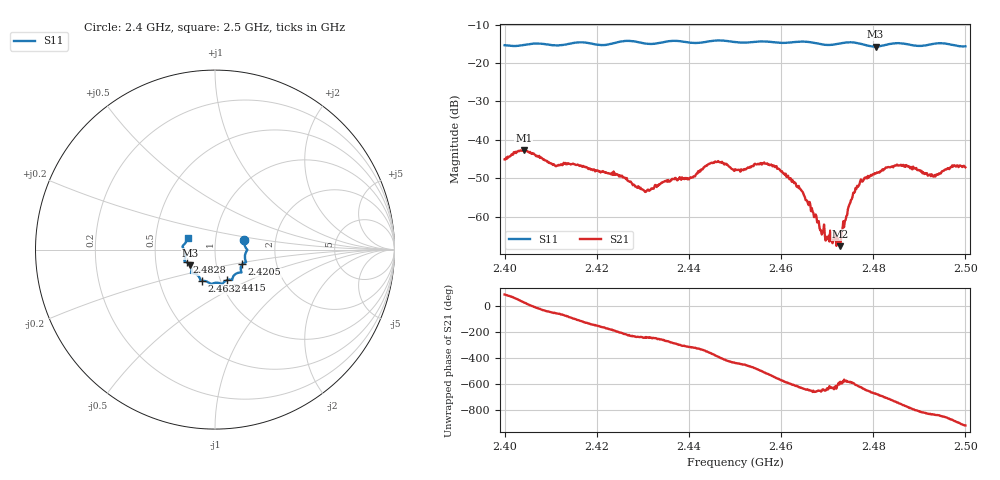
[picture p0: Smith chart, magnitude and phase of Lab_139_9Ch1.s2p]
# Hz S RI R 50
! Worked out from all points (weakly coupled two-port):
!   601 points, 2.4 GHz to 2.5 GHz, reference 50 ohm
!   highest |S21| = -42.67 dB at 2.4042 GHz (marker M1); lowest = -67.7 dB at 2.4728 GHz (marker M2)
!   lowest |S11| = -15.7 dB at 2.4805 GHz (marker M3), VSWR 1.39, Z = 37.3 - j6.68 ohm
!   |S11| at or under -10 dB: start of sweep to end of sweep
!   S12 and S22 are empty: the file has one direction only
!   S11 on the Smith chart (normalised r, x): 2.4 GHz: 1.38, +0.15; 2.4205 GHz: 1.34, -0.22; 2.4415 GHz: 1.07, -0.38; 2.4632 GHz: 0.82, -0.29; 2.4828 GHz: 0.72, -0.10; 2.5 GHz: 0.73, +0.10
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2.4e9  0.1633 0.0518  0.000243 0.00555  0 0  0 0
2.404167e9  0.1721 0.00907  0.00654 0.00336  0 0  0 0
2.411e9  0.1681 -0.0255  0.00264 -0.00373  0 0  0 0
2.416667e9  0.1729 -0.0699  -0.00208 -0.00406  0 0  0 0
2.4205e9  0.152 -0.0816  -0.0035 -0.00161  0 0  0 0
2.430333e9  0.125 -0.1306  -0.000969 0.00193  0 0  0 0
2.433333e9  0.1003 -0.1516  -0.000723 0.00241  0 0  0 0
2.4415e9  0.0656 -0.1706  0.00283 0.00208  0 0  0 0
2.445833e9  0.0415 -0.1923  0.00477 -0.00195  0 0  0 0
2.45e9  0.0242 -0.1862  0.000799 -0.00406  0 0  0 0
2.4565e9  -0.0237 -0.19  -0.00436 -0.00222  0 0  0 0
2.463167e9  -0.0731 -0.1739  -0.000657 0.00262  0 0  0 0
2.466667e9  -0.0822 -0.1669  0.000503 0.00119  0 0  0 0
2.47e9  -0.099 -0.1411  2.83e-05 0.000507  0 0  0 0
2.472833e9  -0.1253 -0.1302  -0.000296 0.000286  0 0  0 0
2.476e9  -0.1335 -0.1279  -0.000911 0.00188  0 0  0 0
2.4805e9  -0.1389 -0.0872  0.00251 0.00265  0 0  0 0
2.482833e9  -0.1586 -0.07  0.00428 0.000899  0 0  0 0
2.483333e9  -0.1624 -0.0682  0.00441 0.000353  0 0  0 0
2.487333e9  -0.1683 -0.0529  0.0026 -0.00379  0 0  0 0
2.493e9  -0.1778 0.00952  -0.0014 -0.00301  0 0  0 0
2.5e9  -0.1527 0.0644  -0.00413 0.00148  0 0  0 0
